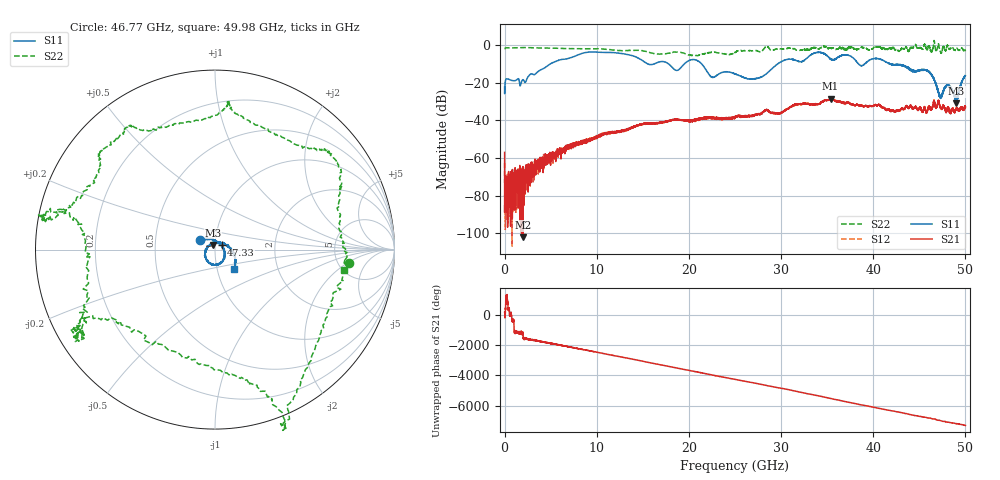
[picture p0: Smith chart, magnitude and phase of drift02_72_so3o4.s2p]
!Created with skrf (http://scikit-rf.org).
# Hz S RI R 50.0
!freq ReS11 ImS11 ReS21 ImS21 ReS12 ImS12 ReS22 ImS22
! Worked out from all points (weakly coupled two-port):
!   10001 points, 300 kHz to 50 GHz, reference 50 ohm
!   highest |S21| = -28.43 dB at 35.38 GHz (marker M1); lowest = -102.0 dB at 2.01 GHz (marker M2)
!   lowest |S11| = -30.9 dB at 49.02 GHz (marker M3), VSWR 1.06, Z = 48.9 + j2.59 ohm
!   |S11| at or under -10 dB: start of sweep to 4.953 GHz; 21.38 GHz to 29.62 GHz (8.238 GHz wide, 32.3 % of centre); 41.89 GHz to end of sweep (the widest 3 of 15)
!   |S22| runs from -5.7 to 2.5 dB; largest |S21 - S12| = 0.0035
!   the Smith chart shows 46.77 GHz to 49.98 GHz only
!   S11 on the Smith chart (normalised r, x): 46.77 GHz: 0.84, +0.09; 47.33 GHz: 1.07, +0.05; 49.98 GHz: 1.20, -0.27
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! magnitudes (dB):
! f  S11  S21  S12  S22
! 300 kHz  -22.3  -57.0  -62.4  -2.1
! 255.3 MHz  -17.9  -75.4  -74.8  -1.4
! 2.01 GHz  -18.4  -102.0  -80.5  -1.3
! 3.785 GHz  -13.5  -65.1  -64.5  -1.5
! 8.335 GHz  -4.5  -51.6  -51.7  -1.9
! 16.67 GHz  -9.1  -41.4  -41.3  -4.7
! 18.7 GHz  -13.4  -39.6  -39.6  -3.7
! 20.6 GHz  -7.7  -40.1  -39.6  -5.7
! 22.52 GHz  -17.1  -38.6  -38.5  -3.7
! 25 GHz  -15.3  -38.3  -38.1  -3.9
! 27.5 GHz  -17.6  -36.7  -36.7  -3.2
! 30.22 GHz  -8.3  -35.5  -35.1  -2.1
! 33.34 GHz  -4.9  -31.2  -31.3  -1.6
! 35.38 GHz  -7.4  -28.4  -28.7  -1.5
! 41.67 GHz  -9.6  -34.0  -34.2  -1.9
! 45.78 GHz  -13.4  -36.0  -35.6  -1.9
! 46.77 GHz  -19.9  -32.6  -32.8  -2.5
! 47.33 GHz  -27.2  -33.4  -33.6  -3.9
! 48.14 GHz  -21.6  -33.6  -33.1  -0.8
! 49.02 GHz  -30.9  -34.1  -33.9  -2.0
! 49.98 GHz  -16.5  -33.0  -32.8  -2.7
! 50 GHz  -16.2  -33.2  -32.9  -2.8
